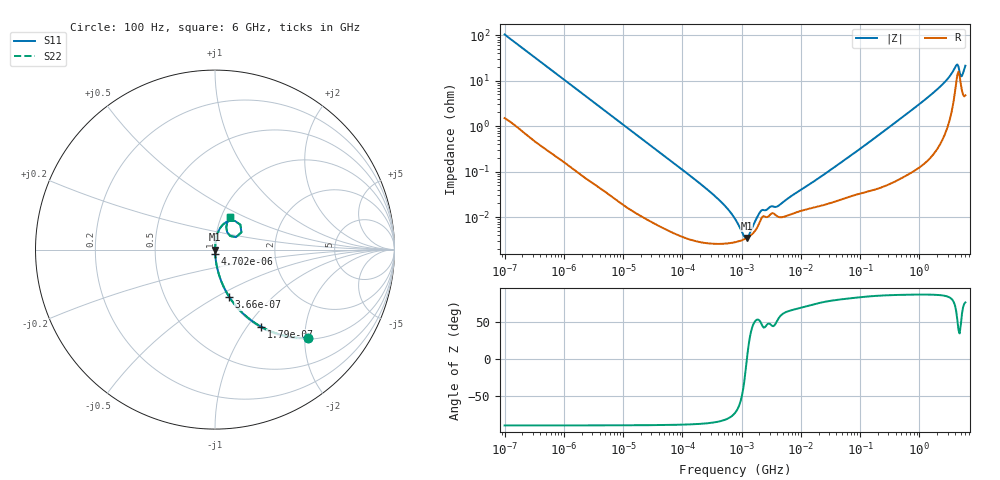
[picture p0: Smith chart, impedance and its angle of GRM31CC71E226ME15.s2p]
!Murata Part Number: GRM31CC71E226ME15
!These Parameters are Measured in Series Mode Connection
!Data Generated on Mar 30, 2021
!  o--ll--o
!Port1  Port2
!  o------o
!Operation Temp=25[degC], DC Bias Voltage=0[V]
!Freq. Start=100[Hz] Stop=6[GHz] 401[Steps]
# Hz S RI R 50
!Freq.(Hz) S11(Real) S11(Imag) S21(Real) S21(Imag) S12(Real) S12(Imag) S22(Real) S22(Imag)
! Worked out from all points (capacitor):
!   401 points, 100 Hz to 6 GHz, reference 50 ohm
!   read as one part in series: C = 15.3 uF near 109 Hz
!   lowest |Z| = 3.46 mohm at 1.212 MHz (marker M1)
!   series resonance near 1.228 MHz, so ESL is about 1.1 nH
!   S11 on the Smith chart (normalised r, x): 100 Hz: 1.03, -2.07; 179 Hz: 1.02, -1.17; 366 Hz: 1.01, -0.57; 4.702 kHz: 1.00, -0.05; 6 GHz: 1.10, +0.42
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100  0.5175 -0.4925  0.4825 0.4925  0.4825 0.4925  0.5175 -0.4925
179  0.2568 -0.4295  0.7432 0.4295  0.7432 0.4295  0.2568 -0.4295
366  0.0791 -0.2628  0.9209 0.2628  0.9209 0.2628  0.0791 -0.2628
784  0.0198 -0.1319  0.9802 0.1319  0.9802 0.1319  0.0198 -0.1319
2008  0.00363 -0.0529  0.9964 0.0529  0.9964 0.0529  0.00363 -0.0529
4702  0.000902 -0.0229  0.9991 0.0229  0.9991 0.0229  0.000902 -0.0229
40335  7.11e-05 -0.00272  0.9999 0.00272  0.9999 0.00272  7.11e-05 -0.00272
289253  2.64e-05 -0.000365  1 0.000365  1 0.000365  2.64e-05 -0.000365
774597  2.8e-05 -8.77e-05  1 8.77e-05  1 8.77e-05  2.8e-05 -8.77e-05
1212075  3.45e-05 -2.4e-06  1 2.4e-06  1 2.4e-06  3.45e-05 -2.4e-06
1734173  5.24e-05 6.86e-05  0.9999 -6.86e-05  0.9999 -6.86e-05  5.24e-05 6.86e-05
2268635  0.000102 0.000101  0.9999 -0.000101  0.9999 -0.000101  0.000102 0.000101
3103719  0.000116 0.000125  0.9999 -0.000125  0.9999 -0.000125  0.000116 0.000125
4060267  0.000103 0.000139  0.9999 -0.000139  0.9999 -0.000139  0.000103 0.000139
1.555665e7  0.000159 0.000553  0.9998 -0.000553  0.9998 -0.000553  0.000159 0.000553
3.124326e8  0.00062 0.00954  0.9994 -0.00954  0.9994 -0.00954  0.00062 0.00954
1.95892e9  0.00685 0.062  0.9931 -0.062  0.9931 -0.062  0.00685 0.062
3.205649e9  0.0264 0.1161  0.9736 -0.1161  0.9736 -0.1161  0.0264 0.1161
4.009986e9  0.0823 0.1605  0.9177 -0.1605  0.9177 -0.1605  0.0823 0.1605
4.385646e9  0.1415 0.1385  0.8585 -0.1385  0.8585 -0.1385  0.1415 0.1385
5.245841e9  0.0675 0.0978  0.9325 -0.0978  0.9325 -0.0978  0.0675 0.0978
6e9  0.0816 0.1821  0.9184 -0.1821  0.9184 -0.1821  0.0816 0.1821
